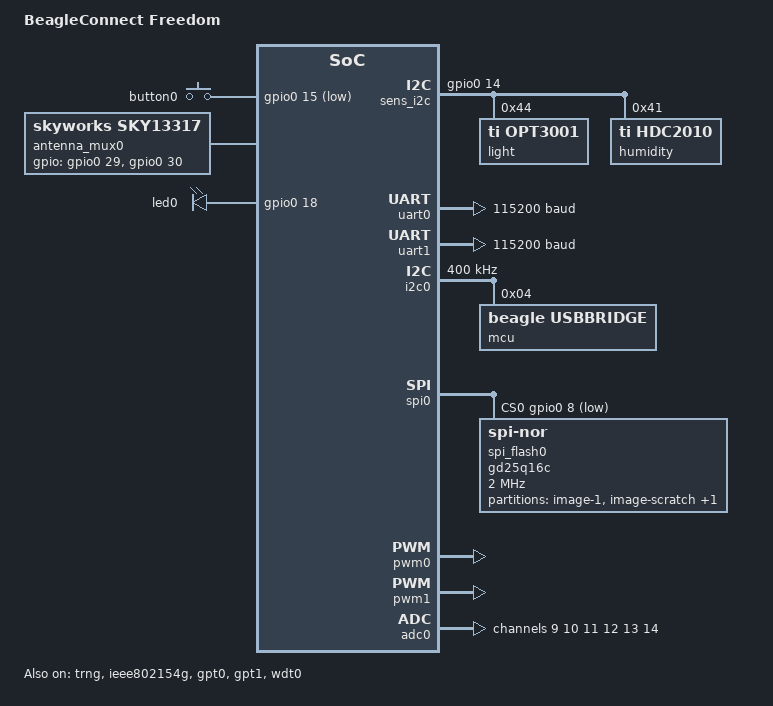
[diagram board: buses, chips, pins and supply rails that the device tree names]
/*
 * Copyright (c) 2020 Erik Larson
 * Copyright (c) 2020-2022 Jason Kridner, BeagleBoard.org Foundation
 *
 * SPDX-License-Identifier: Apache-2.0
 */

/dts-v1/;

#include <ti/cc1352r7.dtsi>
#include "beagleconnect_freedom-pinctrl.dtsi"
#include <zephyr/dt-bindings/input/input-event-codes.h>

#define BTN_GPIO_FLAGS (GPIO_ACTIVE_LOW | GPIO_PULL_UP)

/ {
	model = "BeagleConnect Freedom";
	compatible = "beagle,beagleconnect-freedom";

	aliases {
		led0 = &led0;
		sw0 = &button0;
		mcuboot-button0 = &button0;
		sensor0 = &light;
		sensor1 = &humidity;
		watchdog0 = &wdt0;
	};

	chosen {
		zephyr,sram = &sram0;
		zephyr,console = &uart0;
		zephyr,shell-uart = &uart0;
		zephyr,flash = &flash0;
		zephyr,ieee802154 = &ieee802154g;
		zephyr,code-partition = &slot0_partition;
		zephyr,uart-mcumgr = &uart0;
	};

	gpio_keys {
		compatible = "gpio-keys";
		button0: button_0 {
			gpios = <&gpio0 15 GPIO_ACTIVE_LOW>;
			zephyr,code = <INPUT_KEY_0>;
		};
	};

	/**
	 * The BeagleConnect Freedom has an on-board antenna switch (SKY13317-373LF) used to select
	 * the appropriate RF signal port based on the currently-used PHY.
	 *
	 * Truth table:
	 *
	 * Path         DIO29 DIO30
	 * ===========  ===== =====
	 * Off          0     0
	 * Sub-1 GHz    0     1     // DIO30 mux to IOC_PORT_RFC_GPO0 for auto
	 * 20 dBm TX    1     0     // DIO29 mux to IOC_PORT_RFC_GPO3 for auto
	 */
	antenna_mux0: antenna_mux0 {
		compatible = "skyworks,sky13317";
		status = "okay";
		gpios = <&gpio0 29 GPIO_ACTIVE_HIGH>, <&gpio0 30 GPIO_ACTIVE_HIGH>;
		pinctrl-0 = <&board_ant_tx_pa_off &board_ant_subg_off>;
		pinctrl-1 = <&board_ant_tx_pa_off &board_ant_subg_on>;
		pinctrl-2 = <&board_ant_tx_pa_on &board_ant_subg_on>;
		pinctrl-names = "default", "ant_subg", "ant_subg_pa";
	};

	leds: leds {
		compatible = "gpio-leds";
		led0: led_0 {
			gpios = <&gpio0 18 GPIO_ACTIVE_HIGH>; // 2.4GHz TX/RX
		};
	};

	sens_i2c: sensor-switch {
		status = "okay";
		compatible = "gpio-i2c-switch";
		#address-cells = <1>;
		#size-cells = <0>;
		controller = <&i2c0>;
		gpios = <&gpio0 14 GPIO_ACTIVE_HIGH>;

		light: opt3001-light@44 {
			status = "okay";
			compatible = "ti,opt3001";
			reg = <0x44>;
		};

		humidity: hdc2010-humidity@41 {
			status = "okay";
			compatible = "ti,hdc2010";
			reg = <0x41>;
		};
	};
};

&flash0 {
	partitions {
		compatible = "fixed-partitions";
		#address-cells = <1>;
		#size-cells = <1>;

		/* Allocate 56 KiB for mcuboot */
		boot_partition: partition@0 {
			label = "mcuboot";
			reg = <0x00000000 DT_SIZE_K(56)>;
		};

		/* Allocate 640 KiB for application */
		slot0_partition: partition@e000 {
			label = "image-0";
			reg = <0x0000e000 DT_SIZE_K(640)>;
		};

		/* (avoid touching CCFG) */
	};
};

&cpu0 {
	clock-frequency = <48000000>;
};

&trng {
	status = "okay";
};

&gpio0 {
	status = "okay";
};

/* Side away from battery connector (with MSP430) */
&uart0 {
	status = "okay";
	current-speed = <115200>;
	pinctrl-0 = <&uart0_rx_default &uart0_tx_default>;
	pinctrl-names = "default";
};

/* Side with battery connector (with CC1352 and not MSP430) */
&uart1 {
	status = "okay";
	current-speed = <115200>;
	pinctrl-0 = <&uart1_rx_default &uart1_tx_default>;
	pinctrl-names = "default";
};

&i2c0 {
	status = "okay";
	clock-frequency = <I2C_BITRATE_FAST>;
	pinctrl-0 = <&i2c0_scl_default &i2c0_sda_default>;
	pinctrl-1 = <&i2c0_scl_sleep &i2c0_sda_sleep>;
	pinctrl-names = "default", "sleep";

	mcu: msp430-usbbridge@4 {
		compatible = "beagle,usbbridge";
		reg = <0x4>;
	};
};

&spi0 {
	status = "okay";
	pinctrl-0 = <&spi0_sck_default &spi0_mosi_default
		&spi0_miso_default &spi0_cs0_default
		&spi0_cs1_default &spi0_cs2_default>;
	pinctrl-names = "default";
	cs-gpios = <&gpio0 8 GPIO_ACTIVE_LOW>, // SPI flash
		<&gpio0 28 GPIO_ACTIVE_LOW>,  // mikroBUS port 1
		<&gpio0 27 GPIO_ACTIVE_LOW>;  // mikroBUS port 2

	spi_flash0: gd25q16c@0 {
		compatible = "jedec,spi-nor";
		reg = <0>;
		spi-max-frequency = <2000000>;
		// Size (2 MiB) is in bits
		size = <0x1000000>;
		//has-be32k;
		has-dpd;
		t-enter-dpd = <20000>;
		t-exit-dpd = <100000>;
		jedec-id = [c8 40 15];

		partitions {
			compatible = "fixed-partitions";
			#address-cells = <1>;
			#size-cells = <1>;

			/* Allocate 640 KiB for application */
			slot1_partition: partition@0 {
				label = "image-1";
				reg = <0x00000000 DT_SIZE_K(640)>;
			};

			/* Allocate 128 KiB scratch for image swap */
			scratch_partition: partition@A0000 {
				label = "image-scratch";
				reg = <0x000a0000 DT_SIZE_K(128)>;
			};

			storage_partition: partition@c0000 {
				label = "storage";
				reg = <0x000c0000 DT_SIZE_K(1280)>;
			};
		};
	};
};

&ieee802154g {
	status = "okay";
};

&gpt0 {
	status = "okay";
};

&gpt1 {
	status = "okay";
};

&pwm0 {
	status = "okay";
	pinctrl-0 = <&pwm0_default>;
	pinctrl-names = "default";
};

&pwm1 {
	status = "okay";
	pinctrl-0 = <&pwm1_default>;
	pinctrl-names = "default";
};

&adc0 {
	status = "okay";

	#address-cells = <1>;
	#size-cells = <0>;

	/* MB1 AN */
	channel@9 {
		reg = <9>;
		zephyr,gain = "ADC_GAIN_1";
		zephyr,reference = "ADC_REF_INTERNAL";
		zephyr,acquisition-time = <ADC_ACQ_TIME_DEFAULT>;
		zephyr,resolution = <12>;
	};

	/* MB2 AN */
	channel@a {
		reg = <10>;
		zephyr,gain = "ADC_GAIN_1";
		zephyr,reference = "ADC_REF_INTERNAL";
		zephyr,acquisition-time = <ADC_ACQ_TIME_DEFAULT>;
		zephyr,resolution = <12>;
	};

	/* MB1/2 SCL */
	channel@b {
		reg = <11>;
		zephyr,gain = "ADC_GAIN_1";
		zephyr,reference = "ADC_REF_INTERNAL";
		zephyr,acquisition-time = <ADC_ACQ_TIME_DEFAULT>;
		zephyr,resolution = <12>;
	};

	/* MB1/2 SDA */
	channel@c {
		reg = <12>;
		zephyr,gain = "ADC_GAIN_1";
		zephyr,reference = "ADC_REF_INTERNAL";
		zephyr,acquisition-time = <ADC_ACQ_TIME_DEFAULT>;
		zephyr,resolution = <12>;
	};

	/* MB2 CS */
	channel@d {
		reg = <13>;
		zephyr,gain = "ADC_GAIN_1";
		zephyr,reference = "ADC_REF_INTERNAL";
		zephyr,acquisition-time = <ADC_ACQ_TIME_DEFAULT>;
		zephyr,resolution = <12>;
	};

	/* MB1 CS */
	channel@e {
		reg = <14>;
		zephyr,gain = "ADC_GAIN_1";
		zephyr,reference = "ADC_REF_INTERNAL";
		zephyr,acquisition-time = <ADC_ACQ_TIME_DEFAULT>;
		zephyr,resolution = <12>;
	};
};

&wdt0 {
	status = "okay";
};
